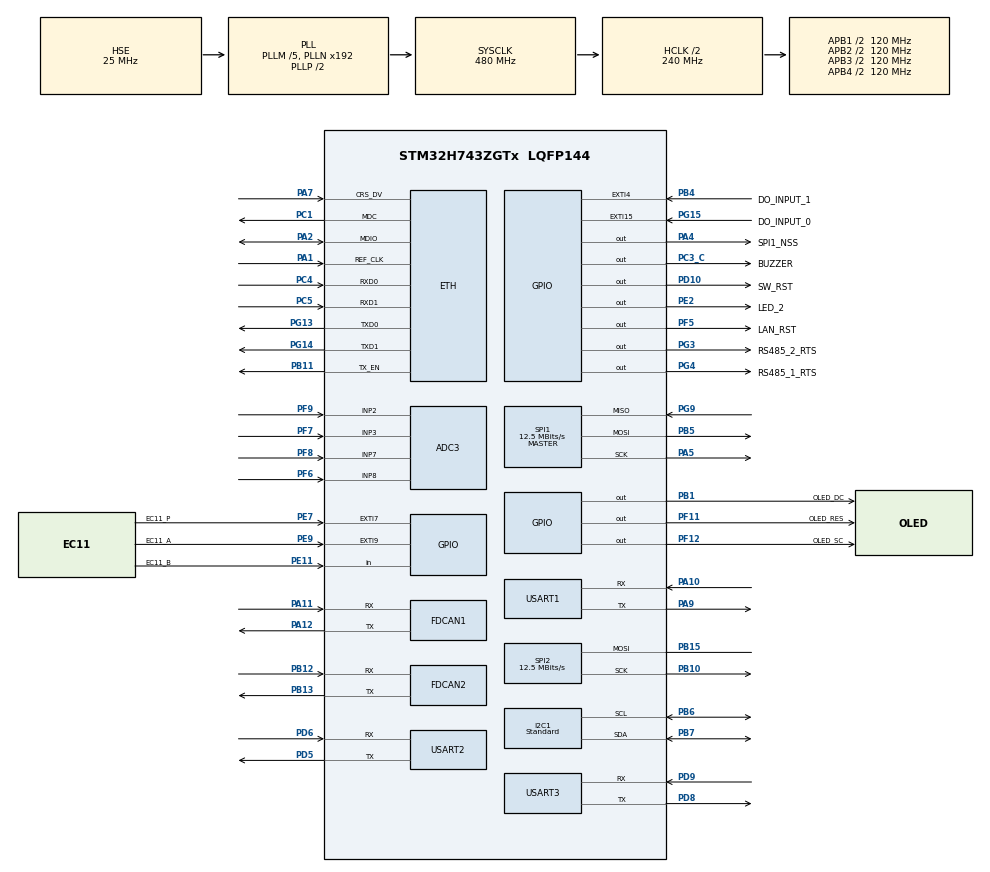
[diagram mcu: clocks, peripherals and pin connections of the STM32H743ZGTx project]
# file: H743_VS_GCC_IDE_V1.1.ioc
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ADC3.Channel-2\#ChannelRegularConversion=ADC_CHANNEL_8
ADC3.Channel-3\#ChannelRegularConversion=ADC_CHANNEL_3
ADC3.Channel-4\#ChannelRegularConversion=ADC_CHANNEL_7
ADC3.Channel-5\#ChannelRegularConversion=ADC_CHANNEL_2
ADC3.ClockPrescaler=ADC_CLOCK_ASYNC_DIV2
ADC3.ContinuousConvMode=ENABLE
ADC3.ConversionDataManagement=ADC_CONVERSIONDATA_DMA_CIRCULAR
ADC3.NbrOfConversion=4
ADC3.NbrOfConversionFlag=1
ADC3.OffsetNumber-2\#ChannelRegularConversion=ADC_OFFSET_NONE
ADC3.OffsetNumber-3\#ChannelRegularConversion=ADC_OFFSET_NONE
ADC3.OffsetNumber-4\#ChannelRegularConversion=ADC_OFFSET_NONE
ADC3.OffsetNumber-5\#ChannelRegularConversion=ADC_OFFSET_NONE
ADC3.OffsetSignedSaturation-2\#ChannelRegularConversion=DISABLE
ADC3.OffsetSignedSaturation-3\#ChannelRegularConversion=DISABLE
ADC3.OffsetSignedSaturation-4\#ChannelRegularConversion=DISABLE
ADC3.OffsetSignedSaturation-5\#ChannelRegularConversion=DISABLE
ADC3.Rank-2\#ChannelRegularConversion=1
ADC3.Rank-3\#ChannelRegularConversion=2
ADC3.Rank-4\#ChannelRegularConversion=3
ADC3.Rank-5\#ChannelRegularConversion=4
ADC3.SamplingTime-2\#ChannelRegularConversion=ADC_SAMPLETIME_32CYCLES_5
ADC3.SamplingTime-3\#ChannelRegularConversion=ADC_SAMPLETIME_32CYCLES_5
ADC3.SamplingTime-4\#ChannelRegularConversion=ADC_SAMPLETIME_32CYCLES_5
ADC3.SamplingTime-5\#ChannelRegularConversion=ADC_SAMPLETIME_32CYCLES_5
Bdma.ADC3.0.Direction=DMA_PERIPH_TO_MEMORY
Bdma.ADC3.0.EventEnable=DISABLE
Bdma.ADC3.0.Instance=BDMA_Channel0
Bdma.ADC3.0.MemDataAlignment=DMA_MDATAALIGN_HALFWORD
Bdma.ADC3.0.MemInc=DMA_MINC_ENABLE
Bdma.ADC3.0.Mode=DMA_CIRCULAR
Bdma.ADC3.0.PeriphDataAlignment=DMA_PDATAALIGN_HALFWORD
Bdma.ADC3.0.PeriphInc=DMA_PINC_DISABLE
Bdma.ADC3.0.Polarity=HAL_DMAMUX_REQ_GEN_RISING
Bdma.ADC3.0.Priority=DMA_PRIORITY_MEDIUM
Bdma.ADC3.0.RequestNumber=1
Bdma.ADC3.0.SignalID=NONE
Bdma.ADC3.0.SyncEnable=DISABLE
Bdma.ADC3.0.SyncPolarity=HAL_DMAMUX_SYNC_NO_EVENT
Bdma.ADC3.0.SyncRequestNumber=1
Bdma.ADC3.0.SyncSignalID=NONE
Bdma.Request0=ADC3
Bdma.RequestsNb=1
CORTEX_M7.AccessPermission_S-Cortex_Memory_Protection_Unit_Region1_Settings_S=MPU_REGION_FULL_ACCESS
CORTEX_M7.AccessPermission_S-Cortex_Memory_Protection_Unit_Region2_Settings_S=MPU_REGION_FULL_ACCESS
CORTEX_M7.AccessPermission_S-Cortex_Memory_Protection_Unit_Region3_Settings_S=MPU_REGION_FULL_ACCESS
CORTEX_M7.AccessPermission_S-Cortex_Memory_Protection_Unit_Region4_Settings_S=MPU_REGION_FULL_ACCESS
CORTEX_M7.AccessPermission_Spec=MPU_REGION_FULL_ACCESS
CORTEX_M7.BaseAddress_S-Cortex_Memory_Protection_Unit_Region1_Settings_S=0x30000000
CORTEX_M7.BaseAddress_S-Cortex_Memory_Protection_Unit_Region2_Settings_S=0x30004000
CORTEX_M7.BaseAddress_S-Cortex_Memory_Protection_Unit_Region3_Settings_S=0x38800000
CORTEX_M7.BaseAddress_S-Cortex_Memory_Protection_Unit_Region4_Settings_S=0x38000000
CORTEX_M7.BaseAddress_Spec=0x24000000
CORTEX_M7.CPU_DCache=Enabled
CORTEX_M7.CPU_ICache=Enabled
CORTEX_M7.DisableExec_S-Cortex_Memory_Protection_Unit_Region1_Settings_S=MPU_INSTRUCTION_ACCESS_DISABLE
CORTEX_M7.DisableExec_S-Cortex_Memory_Protection_Unit_Region2_Settings_S=MPU_INSTRUCTION_ACCESS_ENABLE
CORTEX_M7.DisableExec_Spec=MPU_INSTRUCTION_ACCESS_ENABLE
CORTEX_M7.Enable_S-Cortex_Memory_Protection_Unit_Region1_Settings_S=MPU_REGION_ENABLE
CORTEX_M7.Enable_S-Cortex_Memory_Protection_Unit_Region2_Settings_S=MPU_REGION_ENABLE
CORTEX_M7.Enable_S-Cortex_Memory_Protection_Unit_Region3_Settings_S=MPU_REGION_ENABLE
CORTEX_M7.Enable_S-Cortex_Memory_Protection_Unit_Region4_Settings_S=MPU_REGION_ENABLE
CORTEX_M7.Enable_S-Cortex_Memory_Protection_Unit_Region5_Settings_S=__NULL
CORTEX_M7.IsBufferable_S-Cortex_Memory_Protection_Unit_Region1_Settings_S=MPU_ACCESS_BUFFERABLE
CORTEX_M7.IsBufferable_S-Cortex_Memory_Protection_Unit_Region2_Settings_S=MPU_ACCESS_NOT_BUFFERABLE
CORTEX_M7.IsBufferable_S-Cortex_Memory_Protection_Unit_Region4_Settings_S=MPU_ACCESS_NOT_BUFFERABLE
CORTEX_M7.IsBufferable_Spec=MPU_ACCESS_NOT_BUFFERABLE
CORTEX_M7.IsCacheable_S-Cortex_Memory_Protection_Unit_Region2_Settings_S=MPU_ACCESS_CACHEABLE
CORTEX_M7.IsCacheable_S-Cortex_Memory_Protection_Unit_Region4_Settings_S=MPU_ACCESS_CACHEABLE
CORTEX_M7.IsCacheable_Spec=MPU_ACCESS_CACHEABLE
CORTEX_M7.IsShareable_S-Cortex_Memory_Protection_Unit_Region1_Settings_S=MPU_ACCESS_SHAREABLE
CORTEX_M7.IsShareable_S-Cortex_Memory_Protection_Unit_Region2_Settings_S=MPU_ACCESS_NOT_SHAREABLE
CORTEX_M7.IsShareable_S-Cortex_Memory_Protection_Unit_Region4_Settings_S=MPU_ACCESS_SHAREABLE
CORTEX_M7.IsShareable_Spec=MPU_ACCESS_NOT_SHAREABLE
CORTEX_M7.Size_S-Cortex_Memory_Protection_Unit_Region1_Settings_S=MPU_REGION_SIZE_256B
CORTEX_M7.Size_S-Cortex_Memory_Protection_Unit_Region2_Settings_S=MPU_REGION_SIZE_64KB
CORTEX_M7.Size_S-Cortex_Memory_Protection_Unit_Region3_Settings_S=MPU_REGION_SIZE_4KB
CORTEX_M7.Size_S-Cortex_Memory_Protection_Unit_Region4_Settings_S=MPU_REGION_SIZE_64KB
CORTEX_M7.Size_Spec=MPU_REGION_SIZE_512KB
CORTEX_M7.SubRegionDisable_Spec=0x00
CORTEX_M7.TypeExtField_S-Cortex_Memory_Protection_Unit_Region2_Settings_S=MPU_TEX_LEVEL1
CORTEX_M7.default_mode_Activation=1
Dma.I2C1_TX.0.Direction=DMA_MEMORY_TO_PERIPH
Dma.I2C1_TX.0.EventEnable=DISABLE
Dma.I2C1_TX.0.FIFOMode=DMA_FIFOMODE_DISABLE
Dma.I2C1_TX.0.Instance=DMA1_Stream3
Dma.I2C1_TX.0.MemDataAlignment=DMA_MDATAALIGN_BYTE
Dma.I2C1_TX.0.MemInc=DMA_MINC_ENABLE
Dma.I2C1_TX.0.Mode=DMA_NORMAL
Dma.I2C1_TX.0.PeriphDataAlignment=DMA_PDATAALIGN_BYTE
Dma.I2C1_TX.0.PeriphInc=DMA_PINC_DISABLE
Dma.I2C1_TX.0.Polarity=HAL_DMAMUX_REQ_GEN_RISING
Dma.I2C1_TX.0.Priority=DMA_PRIORITY_LOW
Dma.I2C1_TX.0.RequestNumber=1
Dma.I2C1_TX.0.SignalID=NONE
Dma.I2C1_TX.0.SyncEnable=DISABLE
Dma.I2C1_TX.0.SyncPolarity=HAL_DMAMUX_SYNC_NO_EVENT
Dma.I2C1_TX.0.SyncRequestNumber=1
Dma.I2C1_TX.0.SyncSignalID=NONE
Dma.Request0=I2C1_TX
Dma.Request1=USART2_RX
Dma.Request2=USART2_TX
Dma.Request3=USART1_RX
Dma.Request4=USART1_TX
Dma.USART1_RX.3.Direction=DMA_PERIPH_TO_MEMORY
Dma.USART1_RX.3.EventEnable=DISABLE
Dma.USART1_RX.3.FIFOMode=DMA_FIFOMODE_DISABLE
Dma.USART1_RX.3.Instance=DMA1_Stream0
Dma.USART1_RX.3.MemDataAlignment=DMA_MDATAALIGN_BYTE
Dma.USART1_RX.3.MemInc=DMA_MINC_ENABLE
Dma.USART1_RX.3.Mode=DMA_NORMAL
Dma.USART1_RX.3.PeriphDataAlignment=DMA_PDATAALIGN_BYTE
Dma.USART1_RX.3.PeriphInc=DMA_PINC_DISABLE
Dma.USART1_RX.3.Polarity=HAL_DMAMUX_REQ_GEN_RISING
Dma.USART1_RX.3.Priority=DMA_PRIORITY_MEDIUM
Dma.USART1_RX.3.RequestNumber=1
Dma.USART1_RX.3.SignalID=NONE
Dma.USART1_RX.3.SyncEnable=DISABLE
Dma.USART1_RX.3.SyncPolarity=HAL_DMAMUX_SYNC_NO_EVENT
Dma.USART1_RX.3.SyncRequestNumber=1
Dma.USART1_RX.3.SyncSignalID=NONE
Dma.USART1_TX.4.Direction=DMA_MEMORY_TO_PERIPH
Dma.USART1_TX.4.EventEnable=DISABLE
Dma.USART1_TX.4.FIFOMode=DMA_FIFOMODE_DISABLE
Dma.USART1_TX.4.Instance=DMA1_Stream1
Dma.USART1_TX.4.MemDataAlignment=DMA_MDATAALIGN_BYTE
Dma.USART1_TX.4.MemInc=DMA_MINC_ENABLE
Dma.USART1_TX.4.Mode=DMA_NORMAL
Dma.USART1_TX.4.PeriphDataAlignment=DMA_PDATAALIGN_BYTE
Dma.USART1_TX.4.PeriphInc=DMA_PINC_DISABLE
Dma.USART1_TX.4.Polarity=HAL_DMAMUX_REQ_GEN_RISING
Dma.USART1_TX.4.Priority=DMA_PRIORITY_MEDIUM
Dma.USART1_TX.4.RequestNumber=1
Dma.USART1_TX.4.SignalID=NONE
Dma.USART1_TX.4.SyncEnable=DISABLE
Dma.USART1_TX.4.SyncPolarity=HAL_DMAMUX_SYNC_NO_EVENT
Dma.USART1_TX.4.SyncRequestNumber=1
Dma.USART1_TX.4.SyncSignalID=NONE
Dma.USART2_RX.1.Direction=DMA_PERIPH_TO_MEMORY
Dma.USART2_RX.1.EventEnable=DISABLE
Dma.USART2_RX.1.FIFOMode=DMA_FIFOMODE_DISABLE
Dma.USART2_RX.1.Instance=DMA1_Stream4
Dma.USART2_RX.1.MemDataAlignment=DMA_MDATAALIGN_BYTE
Dma.USART2_RX.1.MemInc=DMA_MINC_ENABLE
Dma.USART2_RX.1.Mode=DMA_NORMAL
Dma.USART2_RX.1.PeriphDataAlignment=DMA_PDATAALIGN_BYTE
Dma.USART2_RX.1.PeriphInc=DMA_PINC_DISABLE
Dma.USART2_RX.1.Polarity=HAL_DMAMUX_REQ_GEN_RISING
Dma.USART2_RX.1.Priority=DMA_PRIORITY_LOW
Dma.USART2_RX.1.RequestNumber=1
Dma.USART2_RX.1.SignalID=NONE
Dma.USART2_RX.1.SyncEnable=DISABLE
Dma.USART2_RX.1.SyncPolarity=HAL_DMAMUX_SYNC_NO_EVENT
Dma.USART2_RX.1.SyncRequestNumber=1
Dma.USART2_RX.1.SyncSignalID=NONE
Dma.USART2_TX.2.Direction=DMA_MEMORY_TO_PERIPH
Dma.USART2_TX.2.EventEnable=DISABLE
Dma.USART2_TX.2.FIFOMode=DMA_FIFOMODE_DISABLE
Dma.USART2_TX.2.Instance=DMA1_Stream5
Dma.USART2_TX.2.MemDataAlignment=DMA_MDATAALIGN_BYTE
Dma.USART2_TX.2.MemInc=DMA_MINC_ENABLE
Dma.USART2_TX.2.Mode=DMA_NORMAL
Dma.USART2_TX.2.PeriphDataAlignment=DMA_PDATAALIGN_BYTE
Dma.USART2_TX.2.PeriphInc=DMA_PINC_DISABLE
Dma.USART2_TX.2.Polarity=HAL_DMAMUX_REQ_GEN_RISING
Dma.USART2_TX.2.Priority=DMA_PRIORITY_LOW
Dma.USART2_TX.2.RequestNumber=1
Dma.USART2_TX.2.SignalID=NONE
Dma.USART2_TX.2.SyncEnable=DISABLE
Dma.USART2_TX.2.SyncPolarity=HAL_DMAMUX_SYNC_NO_EVENT
Dma.USART2_TX.2.SyncRequestNumber=1
Dma.USART2_TX.2.SyncSignalID=NONE
ETH.ETH_RX_DESC_CNT=4
ETH.ETH_TX_DESC_CNT=4
ETH.MediaInterface=HAL_ETH_RMII_MODE
ETH.RxBuffLen=1536
ETH.RxBufferAddress=0x30000200
ETH.RxDescAddress=0x30000000
ETH.TxDescAddress=0x30000100
FDCAN1.CalculateBaudRateNominal=500000
FDCAN1.CalculateTimeBitNominal=2000
FDCAN1.CalculateTimeQuantumNominal=50.0
FDCAN1.DataPrescaler=5
FDCAN1.DataTimeSeg1=31
FDCAN1.DataTimeSeg2=8
FDCAN1.NominalPrescaler=5
FDCAN1.NominalTimeSeg1=31
FDCAN1.NominalTimeSeg2=8
FDCAN1.RxFifo0ElmtsNbr=32
FDCAN1.StdFiltersNbr=1
FDCAN1.TxFifoQueueElmtsNbr=16
FDCAN2.CalculateBaudRateNominal=500000
FDCAN2.CalculateTimeBitNominal=2000
FDCAN2.CalculateTimeQuantumNominal=50.0
FDCAN2.DataPrescaler=5
FDCAN2.DataTimeSeg1=31
FDCAN2.DataTimeSeg2=8
FDCAN2.MessageRAMOffset=0x406
FDCAN2.NominalPrescaler=5
FDCAN2.NominalTimeSeg1=31
FDCAN2.NominalTimeSeg2=8
FDCAN2.RxFifo1ElmtsNbr=32
FDCAN2.StdFiltersNbr=1
FDCAN2.TxFifoQueueElmtsNbr=32
FREERTOS.HEAP_NUMBER=4
FREERTOS.Tasks01=defaultTask,24,4096,StartDefaultTask,Default,NULL,Dynamic,NULL,NULL
FREERTOS.configENABLE_FPU=1
FREERTOS.configMINIMAL_STACK_SIZE=1024
FREERTOS.configTIMER_QUEUE_LENGTH=20
FREERTOS.configTIMER_TASK_PRIORITY=24
FREERTOS.configTIMER_TASK_STACK_DEPTH=20480
FREERTOS.configTOTAL_HEAP_SIZE=102400
FREERTOS.configUSE_NEWLIB_REENTRANT=1
FREERTOS.configUSE_TICKLESS_IDLE=1
I2C1.CustomTiming=Disabled
I2C1.I2C_Coeff_DF=10
I2C1.I2C_Fall_Time=20
I2C1.I2C_Rise_Time=20
I2C1.I2C_Speed_Mode=I2C_Standard
I2C1.Timing=0x10D0E0FF
LWIP.BSP.number=1
LWIP.DEFAULT_THREAD_PRIO=28
LWIP.ETH_RX_BUFFER_CNT=128
LWIP.IP_ADDRESS=000.000.000.000
LWIP.LWIP_ALLOW_MEM_FREE_FROM_OTHER_CONTEXT=1
LWIP.LWIP_DHCP=0
LWIP.LWIP_NETCONN_FULLDUPLEX=1
LWIP.LWIP_RAM_HEAP_POINTER=0x30000800
LWIP.LWIP_SNTP=1
LWIP.MEMP_MEM_INIT=1
LWIP.MEMP_MEM_MALLOC=1
LWIP.MEMP_NUM_PBUF=64
LWIP.MEMP_USE_CUSTOM_POOLS=1
LWIP.MEM_LIBC_MALLOC=1
LWIP.MEM_SIZE=16384
LWIP.NETMASK_ADDRESS=000.000.000.000
LWIP.PBUF_POOL_SIZE=128
LWIP.SLIPIF_THREAD_PRIO=28
LWIP.TCPIP_THREAD_PRIO=32
LWIP.TCPIP_THREAD_STACKSIZE=4096
LWIP.TCP_SND_QUEUELEN=24
LWIP.Version=v2.1.2_Cube
LWIP0.BSP.STBoard=false
LWIP0.BSP.api=BSP_COMPONENT_DRIVER
LWIP0.BSP.component=LAN8742
LWIP0.BSP.instance=LAN8742
LWIP0.BSP.name=Driver_PHY
LWIP0.BSP.semaphore=S_LAN8742
LWIP0.BSP.solution=LAN8742
Mcu.Family=STM32H7
Mcu.Name=STM32H743ZGTx
Mcu.Package=LQFP144
NVIC.BDMA_Channel0_IRQn=true\:5\:0\:false\:false\:true\:true\:false\:true\:true
NVIC.DMA1_Stream0_IRQn=true\:5\:0\:false\:false\:true\:true\:false\:true\:true
NVIC.DMA1_Stream1_IRQn=true\:5\:0\:false\:false\:true\:true\:false\:true\:true
NVIC.DMA1_Stream3_IRQn=true\:5\:0\:false\:false\:true\:true\:false\:true\:true
NVIC.DMA1_Stream4_IRQn=true\:5\:0\:false\:false\:true\:true\:false\:true\:true
NVIC.DMA1_Stream5_IRQn=true\:5\:0\:false\:false\:true\:true\:false\:true\:true
NVIC.ETH_IRQn=true\:5\:0\:true\:false\:true\:true\:true\:true\:true
NVIC.EXTI15_10_IRQn=true\:5\:0\:false\:false\:true\:true\:true\:true\:true
NVIC.EXTI4_IRQn=true\:5\:0\:false\:false\:true\:true\:true\:true\:true
NVIC.EXTI9_5_IRQn=true\:5\:0\:true\:false\:true\:false\:true\:true\:true
NVIC.FDCAN1_IT0_IRQn=true\:5\:0\:false\:false\:true\:true\:true\:true\:true
NVIC.FDCAN2_IT0_IRQn=true\:5\:0\:false\:false\:true\:true\:true\:true\:true
NVIC.PriorityGroup=NVIC_PRIORITYGROUP_4
NVIC.TIM7_IRQn=true\:15\:0\:false\:false\:true\:false\:false\:true\:true
NVIC.TimeBase=TIM7_IRQn
NVIC.TimeBaseIP=TIM7
NVIC.USART1_IRQn=true\:7\:0\:true\:false\:false\:true\:true\:true\:true
NVIC.USART2_IRQn=true\:5\:0\:true\:false\:true\:true\:true\:true\:true
NVIC.USART3_IRQn=true\:5\:0\:true\:false\:false\:true\:true\:true\:true
PA1.GPIO_Mode=GPIO_MODE_AF_PP
PA1.GPIO_PuPd=GPIO_NOPULL
PA1.GPIO_Speed=GPIO_SPEED_FREQ_VERY_HIGH
PA1.Mode=RMII
PA1.Signal=ETH_REF_CLK
PA10.GPIO_PuPd=GPIO_PULLUP
PA10.GPIO_Speed=GPIO_SPEED_FREQ_HIGH
PA10.Mode=Asynchronous
PA10.Signal=USART1_RX
PA11.Mode=FDCAN_Activate
PA11.Signal=FDCAN1_RX
PA12.Mode=FDCAN_Activate
PA12.Signal=FDCAN1_TX
PA13\ (JTMS/SWDIO).Mode=Serial_Wire
PA13\ (JTMS/SWDIO).Signal=DEBUG_JTMS-SWDIO
PA14\ (JTCK/SWCLK).Mode=Serial_Wire
PA14\ (JTCK/SWCLK).Signal=DEBUG_JTCK-SWCLK
PA2.GPIO_Mode=GPIO_MODE_AF_PP
PA2.GPIO_PuPd=GPIO_NOPULL
PA2.GPIO_Speed=GPIO_SPEED_FREQ_VERY_HIGH
PA2.Mode=RMII
PA2.Signal=ETH_MDIO
PA4.GPIO_Label=SPI1_NSS
PA4.GPIO_Speed=GPIO_SPEED_FREQ_MEDIUM
PA4.Signal=GPIO_Output
PA5.GPIO_Speed=GPIO_SPEED_FREQ_VERY_HIGH
PA5.Mode=Full_Duplex_Master
PA5.Signal=SPI1_SCK
PA7.GPIO_Mode=GPIO_MODE_AF_PP
PA7.GPIO_PuPd=GPIO_NOPULL
PA7.GPIO_Speed=GPIO_SPEED_FREQ_VERY_HIGH
PA7.Mode=RMII
PA7.Signal=ETH_CRS_DV
PA9.GPIO_PuPd=GPIO_PULLUP
PA9.GPIO_Speed=GPIO_SPEED_FREQ_HIGH
PA9.Mode=Asynchronous
PA9.Signal=USART1_TX
PB1.GPIO_Label=OLED_DC
PB1.Signal=GPIO_Output
PB10.Mode=Simplex_Bidirectional_Master
PB10.Signal=SPI2_SCK
PB11.GPIO_Mode=GPIO_MODE_AF_PP
PB11.GPIO_PuPd=GPIO_NOPULL
PB11.GPIO_Speed=GPIO_SPEED_FREQ_VERY_HIGH
PB11.Mode=RMII
PB11.Signal=ETH_TX_EN
PB12.Mode=FDCAN_Activate
PB12.Signal=FDCAN2_RX
PB13.Mode=FDCAN_Activate
PB13.Signal=FDCAN2_TX
PB15.Mode=Simplex_Bidirectional_Master
PB15.Signal=SPI2_MOSI
PB4\ (NJTRST).GPIO_Label=DO_INPUT_1
PB4\ (NJTRST).Signal=GPXTI4
PB5.GPIO_Speed=GPIO_SPEED_FREQ_VERY_HIGH
PB5.Mode=Full_Duplex_Master
PB5.Signal=SPI1_MOSI
PB6.GPIO_Pu=GPIO_PULLUP
PB6.GPIO_Speed=GPIO_SPEED_FREQ_HIGH
PB6.Mode=I2C
PB6.Signal=I2C1_SCL
PB7.GPIO_Pu=GPIO_PULLUP
PB7.GPIO_Speed=GPIO_SPEED_FREQ_HIGH
PB7.Mode=I2C
PB7.Signal=I2C1_SDA
PC1.GPIO_Mode=GPIO_MODE_AF_PP
PC1.GPIO_PuPd=GPIO_NOPULL
PC1.GPIO_Speed=GPIO_SPEED_FREQ_VERY_HIGH
PC1.Mode=RMII
PC1.Signal=ETH_MDC
PC14-OSC32_IN\ (OSC32_IN).Mode=LSE-External-Oscillator
PC14-OSC32_IN\ (OSC32_IN).Signal=RCC_OSC32_IN
PC15-OSC32_OUT\ (OSC32_OUT).Mode=LSE-External-Oscillator
PC15-OSC32_OUT\ (OSC32_OUT).Signal=RCC_OSC32_OUT
PC3_C.GPIO_Label=BUZZER
PC3_C.GPIO_Speed=GPIO_SPEED_FREQ_HIGH
PC3_C.Signal=GPIO_Output
PC4.GPIO_Mode=GPIO_MODE_AF_PP
PC4.GPIO_PuPd=GPIO_NOPULL
PC4.GPIO_Speed=GPIO_SPEED_FREQ_VERY_HIGH
PC4.Mode=RMII
PC4.Signal=ETH_RXD0
PC5.GPIO_Mode=GPIO_MODE_AF_PP
PC5.GPIO_PuPd=GPIO_NOPULL
PC5.GPIO_Speed=GPIO_SPEED_FREQ_VERY_HIGH
PC5.Mode=RMII
PC5.Signal=ETH_RXD1
PD10.GPIO_Label=SW_RST
PD10.Signal=GPIO_Output
PD5.GPIO_PuPd=GPIO_PULLUP
PD5.GPIO_Speed=GPIO_SPEED_FREQ_HIGH
PD5.Mode=Asynchronous
PD5.Signal=USART2_TX
PD6.GPIO_PuPd=GPIO_PULLUP
PD6.GPIO_Speed=GPIO_SPEED_FREQ_HIGH
PD6.Mode=Asynchronous
PD6.Signal=USART2_RX
PD8.GPIO_PuPd=GPIO_PULLUP
PD8.GPIO_Speed=GPIO_SPEED_FREQ_HIGH
PD8.Mode=Asynchronous
PD8.Signal=USART3_TX
PD9.GPIO_PuPd=GPIO_PULLUP
PD9.GPIO_Speed=GPIO_SPEED_FREQ_HIGH
PD9.Mode=Asynchronous
PD9.Signal=USART3_RX
PE11.GPIO_Label=EC11_B
PE11.Signal=GPIO_Input
PE2.GPIO_Label=LED_2
PE2.GPIO_PuPd=GPIO_PULLUP
PE2.Signal=GPIO_Output
PE7.GPIO_Label=EC11_P
PE7.GPIO_ModeDefaultEXTI=GPIO_MODE_IT_FALLING
PE7.Signal=GPXTI7
PE9.GPIO_Label=EC11_A
PE9.Signal=GPXTI9
PF11.GPIO_Label=OLED_RES
PF11.Signal=GPIO_Output
PF12.GPIO_Label=OLED_SC
PF12.Signal=GPIO_Output
PF5.GPIO_Label=LAN_RST
PF5.Signal=GPIO_Output
PF6.Mode=IN8-Single-Ended
PF6.Signal=ADC3_INP8
PF7.Mode=IN3-Single-Ended
PF7.Signal=ADC3_INP3
PF8.Mode=IN7-Single-Ended
PF8.Signal=ADC3_INP7
PF9.Mode=IN2-Single-Ended
PF9.Signal=ADC3_INP2
PG13.GPIO_Mode=GPIO_MODE_AF_PP
PG13.GPIO_PuPd=GPIO_NOPULL
PG13.GPIO_Speed=GPIO_SPEED_FREQ_VERY_HIGH
PG13.Mode=RMII
PG13.Signal=ETH_TXD0
PG14.GPIO_Mode=GPIO_MODE_AF_PP
PG14.GPIO_PuPd=GPIO_NOPULL
PG14.GPIO_Speed=GPIO_SPEED_FREQ_VERY_HIGH
PG14.Mode=RMII
PG14.Signal=ETH_TXD1
PG15.GPIO_Label=DO_INPUT_0
PG15.GPIO_PuPd=GPIO_PULLDOWN
PG15.Signal=GPXTI15
PG3.GPIO_Label=RS485_2_RTS
PG3.GPIO_ModeDefaultOutputPP=GPIO_MODE_OUTPUT_PP
PG3.GPIO_PuPd=GPIO_PULLDOWN
PG3.GPIO_Speed=GPIO_SPEED_FREQ_MEDIUM
PG3.PinState=GPIO_PIN_SET
PG3.Signal=GPIO_Output
PG4.GPIO_Label=RS485_1_RTS
PG4.GPIO_PuPd=GPIO_PULLDOWN
PG4.GPIO_Speed=GPIO_SPEED_FREQ_MEDIUM
PG4.PinState=GPIO_PIN_SET
PG4.Signal=GPIO_Output
PG9.GPIO_Speed=GPIO_SPEED_FREQ_VERY_HIGH
PG9.Mode=Full_Duplex_Master
PG9.Signal=SPI1_MISO
PH0-OSC_IN\ (PH0).Mode=HSE-External-Oscillator
PH0-OSC_IN\ (PH0).Signal=RCC_OSC_IN
PH1-OSC_OUT\ (PH1).Mode=HSE-External-Oscillator
PH1-OSC_OUT\ (PH1).Signal=RCC_OSC_OUT
ProjectManager.HeapSize=0x1200
ProjectManager.StackSize=0x1000
ProjectManager.TargetToolchain=CMake
RCC.ADCFreq_Value=100000000
RCC.APB1Freq_Value=120000000
RCC.APB2Freq_Value=120000000
RCC.APB3Freq_Value=120000000
RCC.APB4Freq_Value=120000000
RCC.CortexFreq_Value=480000000
RCC.D1PPRE=RCC_APB3_DIV2
RCC.D2PPRE1=RCC_APB1_DIV2
RCC.D2PPRE2=RCC_APB2_DIV2
RCC.D3PPRE=RCC_APB4_DIV2
RCC.DIVM1=5
RCC.DIVM2=5
RCC.DIVM3=5
RCC.DIVN1=192
RCC.DIVN2=160
RCC.DIVN3=160
RCC.DIVP2=8
RCC.DIVP3=4
RCC.DIVQ2=8
RCC.DIVR3=8
RCC.FDCANCLockSelection=RCC_FDCANCLKSOURCE_PLL2
RCC.HCLKFreq_Value=240000000
RCC.HPRE=RCC_HCLK_DIV2
RCC.I2C123CLockSelection=RCC_I2C123CLKSOURCE_PLL3
RCC.PLLSourceVirtual=RCC_PLLSOURCE_HSE
RCC.RTCClockSelection=RCC_RTCCLKSOURCE_LSE
RCC.SPI123CLockSelection=RCC_SPI123CLKSOURCE_PLL3
RCC.SYSCLKFreq_VALUE=480000000
RCC.SYSCLKSource=RCC_SYSCLKSOURCE_PLLCLK
RCC.USBFreq_Value=480000000
RTC.Format=RTC_FORMAT_BCD
RTC.Year=25
SPI1.BaudRatePrescaler=SPI_BAUDRATEPRESCALER_16
SPI1.CLKPhase=SPI_PHASE_1EDGE
SPI1.CLKPolarity=SPI_POLARITY_LOW
SPI1.CalculateBaudRate=12.5 MBits/s
SPI1.DataSize=SPI_DATASIZE_8BIT
SPI1.Direction=SPI_DIRECTION_2LINES
SPI1.FirstBit=SPI_FIRSTBIT_MSB
SPI1.Mode=SPI_MODE_MASTER
SPI1.VirtualType=VM_MASTER
SPI2.BaudRatePrescaler=SPI_BAUDRATEPRESCALER_16
SPI2.CLKPhase=SPI_PHASE_2EDGE
SPI2.CLKPolarity=SPI_POLARITY_HIGH
SPI2.CalculateBaudRate=12.5 MBits/s
SPI2.DataSize=SPI_DATASIZE_8BIT
SPI2.Direction=SPI_DIRECTION_1LINE
SPI2.Mode=SPI_MODE_MASTER
SPI2.VirtualType=VM_MASTER
USART1.VirtualMode-Asynchronous=VM_ASYNC
USART2.VirtualMode-Asynchronous=VM_ASYNC
USART3.VirtualMode-Asynchronous=VM_ASYNC
VP_FREERTOS_VS_CMSIS_V2.Mode=CMSIS_V2
VP_LWIP_VS_Enabled.Mode=Enabled
VP_MEMORYMAP_VS_MEMORYMAP.Mode=CurAppReg
VP_RTC_VS_RTC_Activate.Mode=RTC_Enabled
VP_RTC_VS_RTC_Calendar.Mode=RTC_Calendar
VP_SYS_VS_tim7.Mode=TIM7
board=custom

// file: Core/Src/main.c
/* USER CODE BEGIN Header */
/**
  ******************************************************************************
  * @file           : main.c
  * @brief          : Main program body
  ******************************************************************************
  * @attention
  *
  * Copyright (c) 2026 STMicroelectronics.
  * All rights reserved.
  *
  * This software is licensed under terms that can be found in the LICENSE file
  * in the root directory of this software component.
  * If no LICENSE file comes with this software, it is provided AS-IS.
  *
  ******************************************************************************
  */
/* USER CODE END Header */
#include "main.h"
#include "cmsis_os.h"
#include "adc.h"
#include "bdma.h"
#include "dma.h"
#include "fdcan.h"
#include "i2c.h"
#include "lwip.h"
#include "rtc.h"
#include "spi.h"
#include "usart.h"
#include "gpio.h"

/* USER CODE BEGIN Includes */
#include "adc.h"
/* USER CODE END Includes */

void SystemClock_Config(void);
void PeriphCommonClock_Config(void);
static void MPU_Config(void);
void MX_FREERTOS_Init(void);

/* USER CODE BEGIN 0 */
uint16_t adc_raw_buf[4] __attribute__((section(".ram_d3")));
float adc_current[4] __attribute__((section(".ram_d3")));
/* USER CODE END 0 */

int main(void)
{

  /* MPU Configuration--------------------------------------------------------*/
  MPU_Config();

  /* Enable the CPU Cache */

  /* Enable I-Cache---------------------------------------------------------*/
  SCB_EnableICache();

  /* Enable D-Cache---------------------------------------------------------*/
  SCB_EnableDCache();

  /* MCU Configuration--------------------------------------------------------*/

  /* Reset of all peripherals, Initializes the Flash interface and the Systick. */
  HAL_Init();

  /* Configure the system clock */
  SystemClock_Config();

  /* Configure the peripherals common clocks */
  PeriphCommonClock_Config();

  /* Initialize all configured peripherals */
  MX_GPIO_Init();
  MX_DMA_Init();
  MX_BDMA_Init();
  MX_FDCAN1_Init();
  MX_FDCAN2_Init();
  MX_I2C1_Init();
  MX_RTC_Init();
  MX_SPI1_Init();
  MX_USART1_UART_Init();
  MX_USART3_UART_Init();
  MX_USART2_UART_Init();
  MX_SPI2_Init();
  MX_ADC3_Init();
  /* USER CODE BEGIN 2 */
  SCB_CleanInvalidateDCache_by_Addr((uint32_t *)adc_raw_buf, sizeof(adc_raw_buf));
  HAL_StatusTypeDef adc_ret = HAL_ADC_Start_DMA(&hadc3, (uint32_t*)adc_raw_buf, 4);
  SET_BIT(ADC3->CFGR, ADC_CFGR_DMNGT_0 | ADC_CFGR_DMNGT_1);
  if(adc_ret == HAL_OK)
  {
      LOG_ADC("ADC3 DMA 启动成功");
  }
  else
  {
      LOG_ADC("ADC3 DMA 启动失败, ret=%d", adc_ret);
  }
  // 判断ADC是否正在持续转换
  if(READ_BIT(ADC3->CR, ADC_CR_ADSTART))
  {
      LOG_ADC("ADC3 正在转换中");
  }
  if(READ_BIT(BDMA_Channel0->CCR, BDMA_CCR_EN))
  {
      LOG_ADC("BDMA通道0已开启传输");
  }
  /* USER CODE END 2 */

  /* Init scheduler */
  osKernelInitialize();  /* Call init function for freertos objects (in cmsis_os2.c) */
  MX_FREERTOS_Init();

  /* Start scheduler */
  osKernelStart();

  /* We should never get here as control is now taken by the scheduler */

  /* Infinite loop */
  /* USER CODE BEGIN WHILE */
  uint32_t print_tick = 0;
  while (1)
  {
    /* USER CODE END WHILE */

  }
}

void SystemClock_Config(void)
{
  RCC_OscInitTypeDef RCC_OscInitStruct = {0};
  RCC_ClkInitTypeDef RCC_ClkInitStruct = {0};

  /** Supply configuration update enable
  */
  HAL_PWREx_ConfigSupply(PWR_LDO_SUPPLY);

  /** Configure the main internal regulator output voltage
  */
  __HAL_PWR_VOLTAGESCALING_CONFIG(PWR_REGULATOR_VOLTAGE_SCALE0);

  while(!__HAL_PWR_GET_FLAG(PWR_FLAG_VOSRDY)) {}

  /** Configure LSE Drive Capability
  */
  HAL_PWR_EnableBkUpAccess();
  __HAL_RCC_LSEDRIVE_CONFIG(RCC_LSEDRIVE_LOW);

  /** Initializes the RCC Oscillators according to the specified parameters
  * in the RCC_OscInitTypeDef structure.
  */
  RCC_OscInitStruct.OscillatorType = RCC_OSCILLATORTYPE_HSE|RCC_OSCILLATORTYPE_LSE;
  RCC_OscInitStruct.HSEState = RCC_HSE_ON;
  RCC_OscInitStruct.LSEState = RCC_LSE_ON;
  RCC_OscInitStruct.PLL.PLLState = RCC_PLL_ON;
  RCC_OscInitStruct.PLL.PLLSource = RCC_PLLSOURCE_HSE;
  RCC_OscInitStruct.PLL.PLLM = 5;
  RCC_OscInitStruct.PLL.PLLN = 192;
  RCC_OscInitStruct.PLL.PLLP = 2;
  RCC_OscInitStruct.PLL.PLLQ = 2;
  RCC_OscInitStruct.PLL.PLLR = 2;
  RCC_OscInitStruct.PLL.PLLRGE = RCC_PLL1VCIRANGE_2;
  RCC_OscInitStruct.PLL.PLLVCOSEL = RCC_PLL1VCOWIDE;
  RCC_OscInitStruct.PLL.PLLFRACN = 0;
  if (HAL_RCC_OscConfig(&RCC_OscInitStruct) != HAL_OK)
  {
    Error_Handler();
  }

  /** Initializes the CPU, AHB and APB buses clocks
  */
  RCC_ClkInitStruct.ClockType = RCC_CLOCKTYPE_HCLK|RCC_CLOCKTYPE_SYSCLK
                              |RCC_CLOCKTYPE_PCLK1|RCC_CLOCKTYPE_PCLK2
                              |RCC_CLOCKTYPE_D3PCLK1|RCC_CLOCKTYPE_D1PCLK1;
  RCC_ClkInitStruct.SYSCLKSource = RCC_SYSCLKSOURCE_PLLCLK;
  RCC_ClkInitStruct.SYSCLKDivider = RCC_SYSCLK_DIV1;
  RCC_ClkInitStruct.AHBCLKDivider = RCC_HCLK_DIV2;
  RCC_ClkInitStruct.APB3CLKDivider = RCC_APB3_DIV2;
  RCC_ClkInitStruct.APB1CLKDivider = RCC_APB1_DIV2;
  RCC_ClkInitStruct.APB2CLKDivider = RCC_APB2_DIV2;
  RCC_ClkInitStruct.APB4CLKDivider = RCC_APB4_DIV2;

  if (HAL_RCC_ClockConfig(&RCC_ClkInitStruct, FLASH_LATENCY_4) != HAL_OK)
  {
    Error_Handler();
  }
}

void PeriphCommonClock_Config(void)
{
  RCC_PeriphCLKInitTypeDef PeriphClkInitStruct = {0};

  /** Initializes the peripherals clock
  */
  PeriphClkInitStruct.PeriphClockSelection = RCC_PERIPHCLK_ADC|RCC_PERIPHCLK_I2C1
                              |RCC_PERIPHCLK_SPI2|RCC_PERIPHCLK_SPI1
                              |RCC_PERIPHCLK_FDCAN;
  PeriphClkInitStruct.PLL2.PLL2M = 5;
  PeriphClkInitStruct.PLL2.PLL2N = 160;
  PeriphClkInitStruct.PLL2.PLL2P = 8;
  PeriphClkInitStruct.PLL2.PLL2Q = 8;
  PeriphClkInitStruct.PLL2.PLL2R = 2;
  PeriphClkInitStruct.PLL2.PLL2RGE = RCC_PLL2VCIRANGE_2;
  PeriphClkInitStruct.PLL2.PLL2VCOSEL = RCC_PLL2VCOWIDE;
  PeriphClkInitStruct.PLL2.PLL2FRACN = 0;
  PeriphClkInitStruct.PLL3.PLL3M = 5;
  PeriphClkInitStruct.PLL3.PLL3N = 160;
  PeriphClkInitStruct.PLL3.PLL3P = 4;
  PeriphClkInitStruct.PLL3.PLL3Q = 2;
  PeriphClkInitStruct.PLL3.PLL3R = 8;
  PeriphClkInitStruct.PLL3.PLL3RGE = RCC_PLL3VCIRANGE_2;
  PeriphClkInitStruct.PLL3.PLL3VCOSEL = RCC_PLL3VCOWIDE;
  PeriphClkInitStruct.PLL3.PLL3FRACN = 0;
  PeriphClkInitStruct.Spi123ClockSelection = RCC_SPI123CLKSOURCE_PLL3;
  PeriphClkInitStruct.FdcanClockSelection = RCC_FDCANCLKSOURCE_PLL2;
  PeriphClkInitStruct.I2c123ClockSelection = RCC_I2C123CLKSOURCE_PLL3;
  PeriphClkInitStruct.AdcClockSelection = RCC_ADCCLKSOURCE_PLL2;
  if (HAL_RCCEx_PeriphCLKConfig(&PeriphClkInitStruct) != HAL_OK)
  {
    Error_Handler();
  }
}

 /* MPU Configuration */

void MPU_Config(void)
{
  MPU_Region_InitTypeDef MPU_InitStruct = {0};

  /* Disables the MPU */
  HAL_MPU_Disable();

  /** Initializes and configures the Region and the memory to be protected
  */
  MPU_InitStruct.Enable = MPU_REGION_ENABLE;
  MPU_InitStruct.Number = MPU_REGION_NUMBER0;
  MPU_InitStruct.BaseAddress = 0x24000000;
  MPU_InitStruct.Size = MPU_REGION_SIZE_512KB;
  MPU_InitStruct.SubRegionDisable = 0x00;
  MPU_InitStruct.TypeExtField = MPU_TEX_LEVEL0;
  MPU_InitStruct.AccessPermission = MPU_REGION_FULL_ACCESS;
  MPU_InitStruct.DisableExec = MPU_INSTRUCTION_ACCESS_ENABLE;
  MPU_InitStruct.IsShareable = MPU_ACCESS_NOT_SHAREABLE;
  MPU_InitStruct.IsCacheable = MPU_ACCESS_CACHEABLE;
  MPU_InitStruct.IsBufferable = MPU_ACCESS_NOT_BUFFERABLE;

  HAL_MPU_ConfigRegion(&MPU_InitStruct);

  /** Initializes and configures the Region and the memory to be protected
  */
  MPU_InitStruct.Number = MPU_REGION_NUMBER1;
  MPU_InitStruct.BaseAddress = 0x30000000;
  MPU_InitStruct.Size = MPU_REGION_SIZE_256B;
  MPU_InitStruct.SubRegionDisable = 0x0;
  MPU_InitStruct.DisableExec = MPU_INSTRUCTION_ACCESS_DISABLE;
  MPU_InitStruct.IsShareable = MPU_ACCESS_SHAREABLE;
  MPU_InitStruct.IsCacheable = MPU_ACCESS_NOT_CACHEABLE;
  MPU_InitStruct.IsBufferable = MPU_ACCESS_BUFFERABLE;

  HAL_MPU_ConfigRegion(&MPU_InitStruct);

  /** Initializes and configures the Region and the memory to be protected
  */
  MPU_InitStruct.Number = MPU_REGION_NUMBER2;
  MPU_InitStruct.BaseAddress = 0x30004000;
  MPU_InitStruct.Size = MPU_REGION_SIZE_64KB;
  MPU_InitStruct.TypeExtField = MPU_TEX_LEVEL1;
  MPU_InitStruct.DisableExec = MPU_INSTRUCTION_ACCESS_ENABLE;
  MPU_InitStruct.IsShareable = MPU_ACCESS_NOT_SHAREABLE;
  MPU_InitStruct.IsCacheable = MPU_ACCESS_CACHEABLE;
  MPU_InitStruct.IsBufferable = MPU_ACCESS_NOT_BUFFERABLE;

  HAL_MPU_ConfigRegion(&MPU_InitStruct);

  /** Initializes and configures the Region and the memory to be protected
  */
  MPU_InitStruct.Number = MPU_REGION_NUMBER3;
  MPU_InitStruct.BaseAddress = 0x38800000;
  MPU_InitStruct.Size = MPU_REGION_SIZE_4KB;
  MPU_InitStruct.TypeExtField = MPU_TEX_LEVEL0;
  MPU_InitStruct.IsCacheable = MPU_ACCESS_NOT_CACHEABLE;

  HAL_MPU_ConfigRegion(&MPU_InitStruct);

  /** Initializes and configures the Region and the memory to be protected
  */
  MPU_InitStruct.Number = MPU_REGION_NUMBER4;
  MPU_InitStruct.BaseAddress = 0x38000000;
  MPU_InitStruct.Size = MPU_REGION_SIZE_64KB;
  MPU_InitStruct.IsShareable = MPU_ACCESS_SHAREABLE;
  MPU_InitStruct.IsCacheable = MPU_ACCESS_CACHEABLE;

  HAL_MPU_ConfigRegion(&MPU_InitStruct);
  /* Enables the MPU */
  HAL_MPU_Enable(MPU_PRIVILEGED_DEFAULT);

}

void HAL_TIM_PeriodElapsedCallback(TIM_HandleTypeDef *htim)
{
  if (htim->Instance == TIM7)
  {
    HAL_IncTick();
  }
}

void Error_Handler(void)
{
  __disable_irq();
  while (1)
  {
  }
}

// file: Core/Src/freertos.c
/* USER CODE BEGIN Header */
/**
 ******************************************************************************
 * File Name          : freertos.c
 * Description        : Code for freertos applications
 ******************************************************************************
 * @attention
 *
 * Copyright (c) 2026 STMicroelectronics.
 * All rights reserved.
 *
 * This software is licensed under terms that can be found in the LICENSE file
 * in the root directory of this software component.
 * If no LICENSE file comes with this software, it is provided AS-IS.
 *
 ******************************************************************************
 */
/* USER CODE END Header */

#include "FreeRTOS.h"
#include "task.h"
#include "main.h"
#include "cmsis_os.h"

/* USER CODE BEGIN Includes */
#include "u8g2.h"
#include "oled_u8g2.h"
#include "sht40.h"
#include "rtc_clock.h"
#include "stdio.h"
#include "string.h"
#include "oled_page.h"
#include "oled_task.h"
#include "bsp_fdcan.h"
#include "buzzer.h"
#include "mbif.h"
#include "running_logic.h"
#include "syncif.h"
#include "net_comm_task.h"
#include "adc.h"
/* USER CODE END Includes */

/* USER CODE BEGIN Variables */
QueueHandle_t udp_msg_queue = NULL;
QueueHandle_t xTcpTaskQueue = NULL;
QueueHandle_t xTimerReqQueue = NULL;

/* USER CODE END Variables */
/* Definitions for defaultTask */
osThreadId_t defaultTaskHandle;
const osThreadAttr_t defaultTask_attributes = {
  .name = "defaultTask",
  .stack_size = 4096 * 4,
  .priority = (osPriority_t) osPriorityNormal,
};

/* USER CODE BEGIN FunctionPrototypes */
/**********************任务*************************************/
osThreadId_t udpTaskHandle;
const osThreadAttr_t udpTask_attributes = {
  .name = "udpTask",
  .stack_size = 2048 * 4,     // 足够跑 UDP + JSON
  .priority = (osPriority_t) osPriorityNormal1,  // 与MODBUS通讯任务相同比普通任务高
};

// TCP 客户端任务配置（TCP 9530）
osThreadId_t tcpConfigTaskHandle;
const osThreadAttr_t tcpConfigTask_attributes = {
  .name = "tcpConfigTask",        // 任务名，唯一不重复
  .stack_size = 2048 * 4,         // 栈大小：4K（足够TCP+JSON解析）
  .priority = (osPriority_t) osPriorityNormal1,  // 优先级同TCP任务
};

// TCP 客户端TCP 任务处理任务（从TCP任务队列取出任务信息，执行注油）
osThreadId_t TCP_task_processingTaskHandle;
const osThreadAttr_t TCP_task_processingTask_attributes = {
  .name = "TCP_task_processingTask",        // 任务名，唯一不重复
  .stack_size = 1024* 4,         // 栈大小：4K（足够TCP+JSON解析）
  .priority = (osPriority_t) osPriorityNormal1,  // 优先级同TCP任务
};

// 定时上报任务（从定时上报专用队列取出信息，执行定时上报）
osThreadId_t TimerReqSendTaskHandle;
const osThreadAttr_t TimerReqSendTask_attributes = {
  .name = "TimerReqSendTask",
  .stack_size = 1024 * 4,
  .priority = (osPriority_t)osPriorityNormal1,
};

// 时间同步任务句柄
osThreadId_t TimeSyncTaskHandle;
const osThreadAttr_t TimeSyncTask_attributes = {
  .name       = "TimeSyncTask",
  .stack_size = 512 * 4,
  .priority   = osPriorityNormal1,
};

// 测试注油任务句柄
osThreadId_t Test_Oil_FillingTaskHandle;
const osThreadAttr_t Test_Oil_FillingTask_attributes = {
  .name       = "Test_Oil_FillingTask",
  .stack_size = 1024 * 4,
  .priority   = osPriorityNormal1,
};

/**********************互斥锁*************************************/
osMutexId_t uart_mutex;//互斥锁，保护UART资源，避免多任务打印冲突
osMutexAttr_t uart_mutex_attr = {
    .name = "uart_mutex",
    .attr_bits = osMutexRecursive, // 支持递归锁，防止printf嵌套死锁
};

void StartUDPDiscoverTask(void *argument);
void StartTCPClientTask(void *argument);

/* USER CODE END FunctionPrototypes */

void StartDefaultTask(void *argument);

extern void MX_LWIP_Init(void);
void MX_FREERTOS_Init(void); /* (MISRA C 2004 rule 8.1) */

/* USER CODE BEGIN PREPOSTSLEEP */
__weak void PreSleepProcessing(uint32_t ulExpectedIdleTime)
{
  /* place for user code */
}

__weak void PostSleepProcessing(uint32_t ulExpectedIdleTime)
{
  /* place for user code */
}
/* USER CODE END PREPOSTSLEEP */

void MX_FREERTOS_Init(void) {

  /* Create the thread(s) */
  /* creation of defaultTask */
  defaultTaskHandle = osThreadNew(StartDefaultTask, NULL, &defaultTask_attributes);

  /* USER CODE BEGIN RTOS_EVENTS */
  udp_msg_queue = xQueueCreate(UDP_MSG_QUEUE_LEN, sizeof(UdpMsgTypeDef));
  xTcpTaskQueue = xQueueCreate(TCP_TASK_QUEUE_LEN, sizeof(TaskInfo_t));
  xTimerReqQueue = xQueueCreate(8, sizeof(TaskInfo_t));
  uart_mutex = osMutexNew(&uart_mutex_attr);
  /* add events, ... */
  /* USER CODE END RTOS_EVENTS */

}

void StartDefaultTask(void *argument)
{
  /* init code for LWIP */
  MX_LWIP_Init();
  /* USER CODE BEGIN StartDefaultTask */
  //—————————————必须放在MX_LWIP_Init();之后———————————————————————
  // init_sys_db();//void syncif_task(void *argument)任务里的已经注释掉
  // init_net_db();
  // net_config_init();// 读取配网参数（必须放在init_sys_db()之后）
  // //——————————————————————————————————————————————————————————————

  // OLED_Task_Init();
  // MsgQueue_Init();
  // start_buzz_task();
  // // buzz_contral(BUZZ_LONG);
  // fdcan1.rx_Filter_Init();
  // fdcan1.rx_Interrupt_Init();
  // fdcan1.start();
  // fdcan2.rx_Filter_Init();
  // fdcan2.rx_Interrupt_Init();
  // fdcan2.start();
  // /**
  //  * 初始化系统状态，阀体归零
  //  */
  // init_sys_status();

  // start_syncif_task();
  // start_mbif_task();

  // start_injector_task();

  // udpTaskHandle = osThreadNew(udp_discover_task, NULL, &udpTask_attributes);
  // tcpConfigTaskHandle = osThreadNew(tcp_client_task, NULL, &tcpConfigTask_attributes);
  // TCP_task_processingTaskHandle = osThreadNew(TCP_task_processing_task,  NULL, &TCP_task_processingTask_attributes);
  // TimerReqSendTaskHandle = osThreadNew(timer_req_send_task, NULL, &TimerReqSendTask_attributes);
  // TimeSyncTaskHandle = osThreadNew(TimeSyncTask, NULL, &TimeSyncTask_attributes);
  // Test_Oil_FillingTaskHandle = osThreadNew(test_oil_filling_task, NULL, &Test_Oil_FillingTask_attributes);
  // if(TCP_task_processingTaskHandle==0)
  // {
  //   for (;;)
  //   {
  //       vTaskDelay(2000);
  //   }
  // }
  // osThreadNew(udp_echo_task, NULL, NULL);
  /* Infinite loop */
  LOG_ADC("buf_addr = 0x%p", adc_raw_buf);
  LOG_ADC("ADC3_CR   = 0x%08x", ADC3->CR);
  LOG_ADC("ADC3_CFGR = 0x%08x", ADC3->CFGR);
  uint32_t print_tick = 0;
  for (;;)
  {
    if(HAL_GetTick() - print_tick >= 500) // 100ms打印一次
    {
        print_tick = HAL_GetTick();
        LOG_ADC("CNDTR=%d raw0=%d raw1=%d raw2=%d raw3=%d",
            BDMA_Channel0->CNDTR,
            adc_raw_buf[0], adc_raw_buf[1], adc_raw_buf[2], adc_raw_buf[3]);
      }
     //vTaskDelay(2000);
  }
  /* USER CODE END StartDefaultTask */
}

/* USER CODE BEGIN Application */
void HAL_ADC_ConvCpltCallback(ADC_HandleTypeDef* hadc)
{
    SCB_CleanInvalidateDCache_by_Addr((uint32_t *)adc_raw_buf, sizeof(adc_raw_buf));
    if(hadc->Instance == ADC3)
    {
        for(uint8_t i=0;i<4;i++)
        {
            float voltage = adc_raw_buf[i] * 3.3f / 65535.0f;
            adc_current[i] = voltage / 160.0f * 1000.0f;
        }
    }
}

void vApplicationStackOverflowHook(TaskHandle_t xTask, char *pcTaskName)
{
    // 当任务栈溢出时，会自动进入这里
    // pcTaskName 变量就是出问题的任务名字！
    (void)xTask;
    while(1)
    {
        __NOP(); // 死循环，方便调试
    }
}
/* USER CODE END Application */
